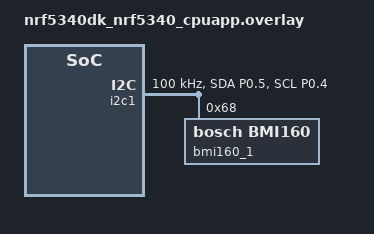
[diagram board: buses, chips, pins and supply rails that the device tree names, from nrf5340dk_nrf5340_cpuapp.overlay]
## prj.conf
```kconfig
#
# Copyright (c) 2020 Nordic Semiconductor ASA
#
# SPDX-License-Identifier: LicenseRef-Nordic-5-Clause
#

CONFIG_NCS_SAMPLES_DEFAULTS=y

CONFIG_UART_INTERRUPT_DRIVEN=y
CONFIG_SERIAL=y
CONFIG_GPIO=y

# Make sure printk is not printing to the UART console
CONFIG_CONSOLE=y
CONFIG_UART_CONSOLE=y

CONFIG_HEAP_MEM_POOL_SIZE=2048

CONFIG_ZIGBEE=y
CONFIG_ZIGBEE_APP_UTILS=y
CONFIG_ZIGBEE_ROLE_END_DEVICE=y

# Enable DK LED and Buttons library
CONFIG_DK_LIBRARY=y

# This example requires more workqueue stack
CONFIG_SYSTEM_WORKQUEUE_STACK_SIZE=2048

# Enable API for powering down unused RAM parts
CONFIG_RAM_POWER_DOWN_LIBRARY=y

# Networking
CONFIG_NET_IPV6=n
CONFIG_NET_IP_ADDR_CHECK=n
CONFIG_NET_UDP=n

CONFIG_ZIGBEE_USE_SOFTWARE_AES=y
CONFIG_ZIGBEE_CHANNEL=11

CONFIG_STDOUT_CONSOLE=y
CONFIG_I2C=y
CONFIG_SENSOR=y
CONFIG_LOG=y
CONFIG_BMI160=y

CONFIG_PIPES=y

CONFIG_MAIN_THREAD_PRIORITY=7
```

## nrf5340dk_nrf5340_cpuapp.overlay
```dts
&i2c1 {
	status = "okay";
	compatible = "nordic,nrf-twim";
	label = "I2C_1";
	pinctrl-0 = <&i2c1_default>;
	pinctrl-1 = <&i2c1_sleep>;
	pinctrl-names = "default", "sleep";
	clock-frequency = <100000>;
    bmi160_1: bmi160@68 {
                compatible = "bosch,bmi160";
                reg = <0x68>;
            };

};

&pinctrl {
	i2c1_default: i2c1_default{
		group1 {
			psels = <NRF_PSEL(TWIM_SDA, 0, 5)>,
				<NRF_PSEL(TWIM_SCL, 0, 4)>;
		};
	};

	i2c1_sleep: i2c1_sleep{
		group1 {
			psels = <NRF_PSEL(TWIM_SDA, 0, 5)>,
				<NRF_PSEL(TWIM_SCL, 0, 4)>;
			low-power-enable;
		};
	};

};
```

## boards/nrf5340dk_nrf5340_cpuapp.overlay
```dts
&timer2 {
	status = "okay";
};

&i2c1 {
	bmi160@69 {
		compatible = "bosch,bmi160";
		reg = <0x69>;
		int-gpios = <&gpio0 7 0>, <&gpio0 6 0>;
	};
};
/delete-node/ &pcf8574_1;

&i2c1_default {
	group1 {
		psels = <NRF_PSEL(TWIM_SDA, 0, 5)>, <NRF_PSEL(TWIM_SCL, 0, 4)>;
	};
};
```

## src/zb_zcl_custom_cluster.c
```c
#include "zb_common.h"
#include "zb_zcl.h"
#include "zcl/zb_zcl_identify.h"
#include "zb_zdo.h"
#include "zb_aps.h"
#include "zb_zcl_custom_cluster.h"

zb_uint8_t gs_custom_server_received_commands[] =
{
  ZB_ZCL_CLUSTER_ID_CUSTOM_CLIENT_ROLE_GENERATED_CMD_LIST
};

zb_discover_cmd_list_t gs_custom_server_cmd_list =
{
  sizeof(gs_custom_server_received_commands), gs_custom_server_received_commands,
  0, NULL
};

zb_bool_t zb_zcl_process_custom_specific_commands_srv(zb_uint8_t param)
{
  if ( ZB_ZCL_GENERAL_GET_CMD_LISTS_PARAM == param )
  {
    ZCL_CTX().zb_zcl_cluster_cmd_list = &gs_custom_server_cmd_list;
    return ZB_TRUE;
  }
  return zb_zcl_process_on_off_specific_commands(param);
}

zb_ret_t check_value_custom_server(zb_uint16_t attr_id, zb_uint8_t endpoint, zb_uint8_t *value)
{
  ZVUNUSED(endpoint);
  ZVUNUSED(attr_id);

  switch (attr_id)
  {
    case ZB_ZCL_CUSTOM_CLUSTER_ATTR_CHAR_STRING_ID: 
    {
      return RET_OK;
    }
    default:
    {
      return RET_ERROR;
    }
  }
}

void zb_zcl_custom_attr_init_server()
{
  zb_zcl_add_cluster_handlers(ZB_ZCL_CLUSTER_ID_CUSTOM_ATTR,
                              ZB_ZCL_CLUSTER_SERVER_ROLE,
                              check_value_custom_server,
                              (zb_zcl_cluster_write_attr_hook_t)NULL,
                              zb_zcl_process_custom_specific_commands_srv);
}
```
